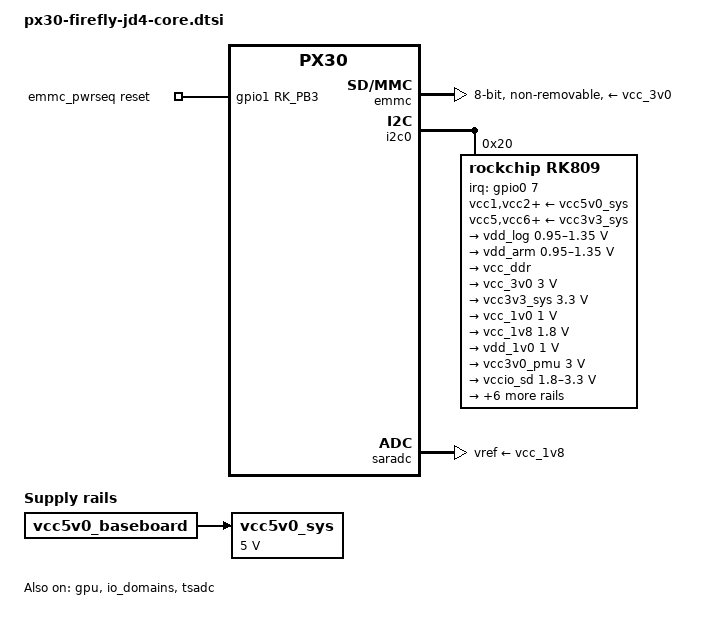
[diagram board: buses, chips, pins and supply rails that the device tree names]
// SPDX-License-Identifier: (GPL-2.0+ OR MIT)
/*
 * Copyright (c) 2019 Fuzhou Rockchip Electronics Co., Ltd
 */

#include <dt-bindings/gpio/gpio.h>
#include <dt-bindings/pinctrl/rockchip.h>
#include "px30.dtsi"

/ {
	compatible = "firefly,px30-jd4-core", "rockchip,px30";

	emmc_pwrseq: emmc-pwrseq {
		compatible = "mmc-pwrseq-emmc";
		pinctrl-0 = <&emmc_reset>;
		pinctrl-names = "default";
		reset-gpios = <&gpio1 RK_PB3 GPIO_ACTIVE_HIGH>;
	};

	vcc5v0_sys: vcc5v0-sys-regulator {
		compatible = "regulator-fixed";
		regulator-name = "vcc5v0_sys";
		regulator-always-on;
		regulator-boot-on;
		regulator-min-microvolt = <5000000>;
		regulator-max-microvolt = <5000000>;
		vin-supply = <&vcc5v0_baseboard>;
	};
};

&cpu0 {
	cpu-supply = <&vdd_arm>;
};

&cpu1 {
	cpu-supply = <&vdd_arm>;
};

&cpu2 {
	cpu-supply = <&vdd_arm>;
};

&cpu3 {
	cpu-supply = <&vdd_arm>;
};

&emmc {
	bus-width = <8>;
	cap-mmc-highspeed;
	mmc-hs200-1_8v;
	non-removable;
	mmc-pwrseq = <&emmc_pwrseq>;
	vmmc-supply = <&vcc_3v0>;
	vqmmc-supply = <&vccio_flash>;
	status = "okay";
};

&gpu {
	mali-supply = <&vdd_log>;
	status = "okay";
};

&i2c0 {
	status = "okay";

	rk809: pmic@20 {
		compatible = "rockchip,rk809";
		reg = <0x20>;
		interrupt-parent = <&gpio0>;
		interrupts = <7 IRQ_TYPE_LEVEL_LOW>;
		pinctrl-names = "default";
		pinctrl-0 = <&pmic_int>;
		rockchip,system-power-controller;
		wakeup-source;
		#clock-cells = <0>;
		clock-output-names = "xin32k";

		vcc1-supply = <&vcc5v0_sys>;
		vcc2-supply = <&vcc5v0_sys>;
		vcc3-supply = <&vcc5v0_sys>;
		vcc4-supply = <&vcc5v0_sys>;
		vcc5-supply = <&vcc3v3_sys>;
		vcc6-supply = <&vcc3v3_sys>;
		vcc7-supply = <&vcc3v3_sys>;
		vcc8-supply = <&vcc3v3_sys>;
		vcc9-supply = <&vcc5v0_sys>;

		regulators {
			vdd_log: DCDC_REG1 {
				regulator-name = "vdd_log";
				regulator-min-microvolt = <950000>;
				regulator-max-microvolt = <1350000>;
				regulator-ramp-delay = <6001>;
				regulator-always-on;
				regulator-boot-on;

				regulator-state-mem {
					regulator-on-in-suspend;
					regulator-suspend-microvolt = <950000>;
				};
			};

			vdd_arm: DCDC_REG2 {
				regulator-name = "vdd_arm";
				regulator-min-microvolt = <950000>;
				regulator-max-microvolt = <1350000>;
				regulator-ramp-delay = <6001>;
				regulator-always-on;
				regulator-boot-on;

				regulator-state-mem {
					regulator-off-in-suspend;
					regulator-suspend-microvolt = <950000>;
				};
			};

			vcc_ddr: DCDC_REG3 {
				regulator-name = "vcc_ddr";
				regulator-always-on;
				regulator-boot-on;

				regulator-state-mem {
					regulator-on-in-suspend;
				};
			};

			vcc_3v0: vcc_rmii: DCDC_REG4 {
				regulator-name = "vcc_3v0";
				regulator-min-microvolt = <3000000>;
				regulator-max-microvolt = <3000000>;
				regulator-always-on;
				regulator-boot-on;

				regulator-state-mem {
					regulator-on-in-suspend;
					regulator-suspend-microvolt = <3000000>;
				};
			};

			vcc3v3_sys: DCDC_REG5 {
				regulator-name = "vcc3v3_sys";
				regulator-min-microvolt = <3300000>;
				regulator-max-microvolt = <3300000>;
				regulator-always-on;
				regulator-boot-on;

				regulator-state-mem {
					regulator-on-in-suspend;
					regulator-suspend-microvolt = <3300000>;
				};
			};

			vcc_1v0: LDO_REG1 {
				regulator-name = "vcc_1v0";
				regulator-min-microvolt = <1000000>;
				regulator-max-microvolt = <1000000>;
				regulator-always-on;
				regulator-boot-on;

				regulator-state-mem {
					regulator-on-in-suspend;
					regulator-suspend-microvolt = <1000000>;
				};
			};

			vcc_1v8: vccio_flash: vccio_sdio: LDO_REG2 {
				regulator-name = "vcc_1v8";
				regulator-min-microvolt = <1800000>;
				regulator-max-microvolt = <1800000>;
				regulator-always-on;
				regulator-boot-on;

				regulator-state-mem {
					regulator-on-in-suspend;
					regulator-suspend-microvolt = <1800000>;
				};
			};

			vdd_1v0: LDO_REG3 {
				regulator-name = "vdd_1v0";
				regulator-min-microvolt = <1000000>;
				regulator-max-microvolt = <1000000>;
				regulator-always-on;
				regulator-boot-on;

				regulator-state-mem {
					regulator-on-in-suspend;
					regulator-suspend-microvolt = <1000000>;
				};
			};

			vcc3v0_pmu: LDO_REG4 {
				regulator-name = "vcc3v0_pmu";
				regulator-min-microvolt = <3000000>;
				regulator-max-microvolt = <3000000>;
				regulator-always-on;
				regulator-boot-on;

				regulator-state-mem {
					regulator-on-in-suspend;
					regulator-suspend-microvolt = <3000000>;
				};
			};

			vccio_sd: LDO_REG5 {
				regulator-name = "vccio_sd";
				regulator-min-microvolt = <1800000>;
				regulator-max-microvolt = <3300000>;
				regulator-always-on;
				regulator-boot-on;

				regulator-state-mem {
					regulator-on-in-suspend;
					regulator-suspend-microvolt = <3300000>;
				};
			};

			vcc_sd: LDO_REG6 {
				regulator-name = "vcc_sd";
				regulator-min-microvolt = <3300000>;
				regulator-max-microvolt = <3300000>;
				regulator-boot-on;

				regulator-state-mem {
					regulator-on-in-suspend;
					regulator-suspend-microvolt = <3300000>;
				};
			};

			vcc2v8_dvp: LDO_REG7 {
				regulator-name = "vcc2v8_dvp";
				regulator-min-microvolt = <2800000>;
				regulator-max-microvolt = <2800000>;
				regulator-boot-on;

				regulator-state-mem {
					regulator-off-in-suspend;
					regulator-suspend-microvolt = <2800000>;
				};
			};

			vcc1v8_dvp: LDO_REG8 {
				regulator-name = "vcc1v8_dvp";
				regulator-min-microvolt = <1800000>;
				regulator-max-microvolt = <1800000>;
				regulator-boot-on;

				regulator-state-mem {
					regulator-on-in-suspend;
					regulator-suspend-microvolt = <1800000>;
				};
			};

			vcc1v5_dvp: LDO_REG9 {
				regulator-name = "vcc1v5_dvp";
				regulator-min-microvolt = <1500000>;
				regulator-max-microvolt = <1500000>;
				regulator-boot-on;

				regulator-state-mem {
					regulator-off-in-suspend;
					regulator-suspend-microvolt = <1500000>;
				};
			};

			vcc3v3_lcd: SWITCH_REG1 {
				regulator-name = "vcc3v3_lcd";
				regulator-boot-on;
			};

			vcc5v0_host: SWITCH_REG2 {
				regulator-name = "vcc5v0_host";
				regulator-always-on;
				regulator-boot-on;
			};
		};
	};
};

&io_domains {
	vccio1-supply = <&vccio_sdio>;
	vccio2-supply = <&vccio_sd>;
	vccio3-supply = <&vcc_3v0>;
	vccio4-supply = <&vcc3v0_pmu>;
	vccio5-supply = <&vcc_3v0>;
	vccio6-supply = <&vccio_flash>;
	status = "okay";
};

&pinctrl {
	emmc {
		emmc_reset: emmc-reset {
			rockchip,pins = <1 RK_PB3 RK_FUNC_GPIO &pcfg_pull_none>;
		};
	};

	pmic {
		pmic_int: pmic_int {
			rockchip,pins =
				<0 RK_PA7 RK_FUNC_GPIO &pcfg_pull_up>;
		};
	};
};

&pmu_io_domains {
	pmuio1-supply = <&vcc3v0_pmu>;
	pmuio2-supply = <&vcc3v0_pmu>;
	status = "okay";
};

&saradc {
	vref-supply = <&vcc_1v8>;
	status = "okay";
};

&tsadc {
	rockchip,hw-tshut-mode = <1>;
	rockchip,hw-tshut-polarity = <1>;
	status = "okay";
};
